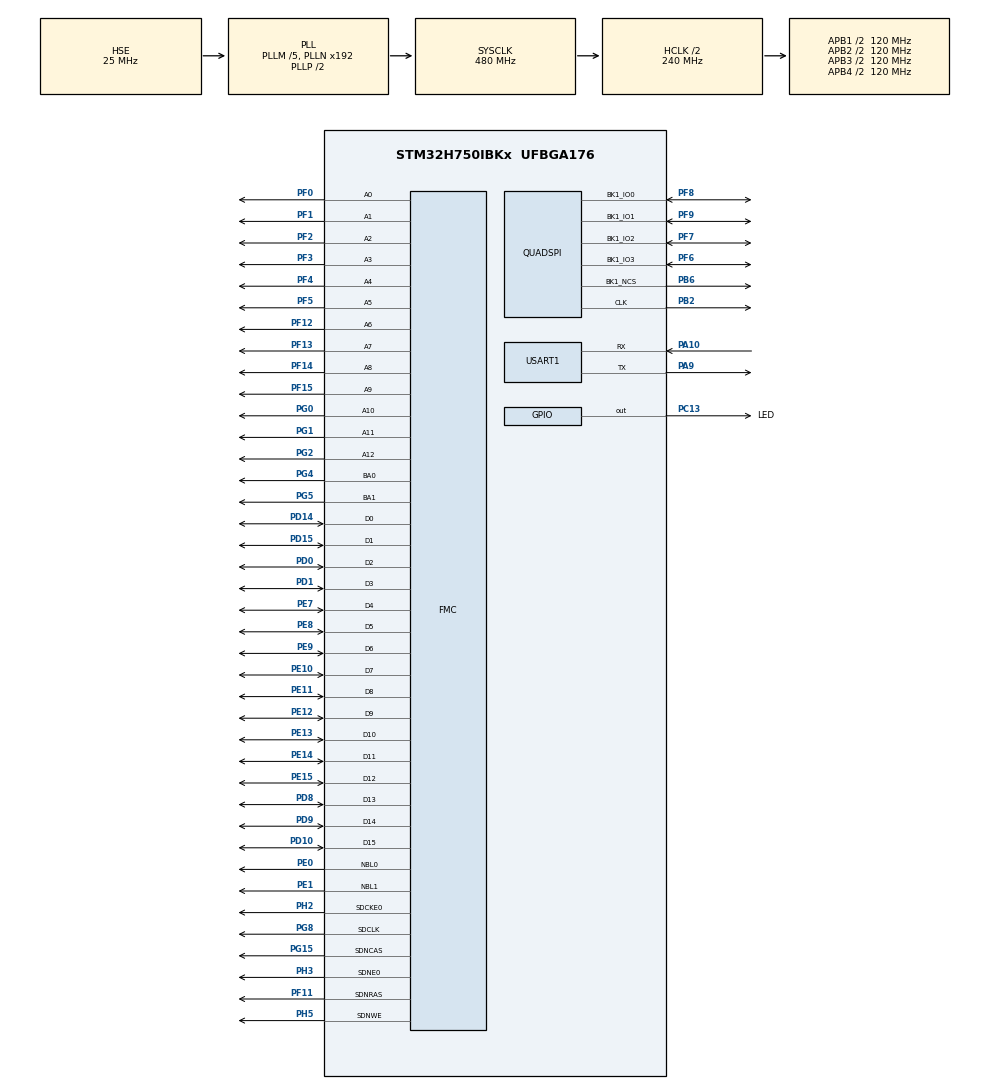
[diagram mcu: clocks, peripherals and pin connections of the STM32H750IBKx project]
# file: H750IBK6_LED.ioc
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FMC.CASLatency1=FMC_SDRAM_CAS_LATENCY_3
FMC.ColumnBitsNumber1=FMC_SDRAM_COLUMN_BITS_NUM_9
FMC.ExitSelfRefreshDelay1=7
FMC.LoadToActiveDelay1=2
FMC.RCDDelay1=2
FMC.RPDelay1=2
FMC.RPDelay2=2
FMC.ReadPipeDelay1=FMC_SDRAM_RPIPE_DELAY_1
FMC.ReadPipeDelay2=FMC_SDRAM_RPIPE_DELAY_1
FMC.RowCycleDelay1=7
FMC.RowCycleDelay2=7
FMC.SDClockPeriod1=FMC_SDRAM_CLOCK_PERIOD_2
FMC.SDClockPeriod2=FMC_SDRAM_CLOCK_PERIOD_2
FMC.SelfRefreshTime1=4
FMC.WriteRecoveryTime1=3
Mcu.Family=STM32H7
Mcu.Name=STM32H750IBKx
Mcu.Package=UFBGA176
NVIC.FMC_IRQn=true\:0\:0\:false\:false\:true\:true\:true\:true
NVIC.PriorityGroup=NVIC_PRIORITYGROUP_4
NVIC.QUADSPI_IRQn=true\:0\:0\:false\:false\:true\:true\:true\:true
PA10.Mode=Asynchronous
PA10.Signal=USART1_RX
PA9.Mode=Asynchronous
PA9.Signal=USART1_TX
PB2.Mode=Single Bank 1
PB2.Signal=QUADSPI_CLK
PB6.Mode=Single Bank 1
PB6.Signal=QUADSPI_BK1_NCS
PC13.GPIO_Label=LED
PC13.Signal=GPIO_Output
PC14-OSC32_IN\ (OSC32_IN).Mode=LSE-External-Oscillator
PC14-OSC32_IN\ (OSC32_IN).Signal=RCC_OSC32_IN
PC15-OSC32_OUT\ (OSC32_OUT).Mode=LSE-External-Oscillator
PC15-OSC32_OUT\ (OSC32_OUT).Signal=RCC_OSC32_OUT
PD0.Signal=FMC_D2_DA2
PD1.Signal=FMC_D3_DA3
PD10.Signal=FMC_D15_DA15
PD14.Signal=FMC_D0_DA0
PD15.Signal=FMC_D1_DA1
PD8.Signal=FMC_D13_DA13
PD9.Signal=FMC_D14_DA14
PE0.Signal=FMC_NBL0
PE1.Signal=FMC_NBL1
PE10.Signal=FMC_D7_DA7
PE11.Signal=FMC_D8_DA8
PE12.Signal=FMC_D9_DA9
PE13.Signal=FMC_D10_DA10
PE14.Signal=FMC_D11_DA11
PE15.Signal=FMC_D12_DA12
PE7.Signal=FMC_D4_DA4
PE8.Signal=FMC_D5_DA5
PE9.Signal=FMC_D6_DA6
PF0.Signal=FMC_A0
PF1.Signal=FMC_A1
PF11.Signal=FMC_SDNRAS
PF12.Signal=FMC_A6
PF13.Signal=FMC_A7
PF14.Signal=FMC_A8
PF15.Signal=FMC_A9
PF2.Signal=FMC_A2
PF3.Signal=FMC_A3
PF4.Signal=FMC_A4
PF5.Signal=FMC_A5
PF6.Mode=Single Bank 1
PF6.Signal=QUADSPI_BK1_IO3
PF7.Mode=Single Bank 1
PF7.Signal=QUADSPI_BK1_IO2
PF8.Mode=Single Bank 1
PF8.Signal=QUADSPI_BK1_IO0
PF9.Mode=Single Bank 1
PF9.Signal=QUADSPI_BK1_IO1
PG0.Signal=FMC_A10
PG1.Signal=FMC_A11
PG15.Signal=FMC_SDNCAS
PG2.Signal=FMC_A12
PG4.Signal=FMC_A14_BA0
PG5.Signal=FMC_A15_BA1
PG8.Signal=FMC_SDCLK
PH0-OSC_IN\ (PH0).Mode=HSE-External-Oscillator
PH0-OSC_IN\ (PH0).Signal=RCC_OSC_IN
PH1-OSC_OUT\ (PH1).Mode=HSE-External-Oscillator
PH1-OSC_OUT\ (PH1).Signal=RCC_OSC_OUT
PH2.Mode=SdramChipSelect1_1
PH2.Signal=FMC_SDCKE0
PH3.Mode=SdramChipSelect1_1
PH3.Signal=FMC_SDNE0
PH5.Signal=FMC_SDNWE
ProjectManager.HeapSize=0x200
ProjectManager.StackSize=0x400
ProjectManager.TargetToolchain=MDK-ARM V5.32
QUADSPI.ChipSelectHighTime=QSPI_CS_HIGH_TIME_4_CYCLE
QUADSPI.ClockPrescaler=1
QUADSPI.FifoThreshold=32
QUADSPI.FlashSize=24
QUADSPI.SampleShifting=QSPI_SAMPLE_SHIFTING_HALFCYCLE
RCC.ADCFreq_Value=50390625
RCC.APB1Freq_Value=120000000
RCC.APB2Freq_Value=120000000
RCC.APB3Freq_Value=120000000
RCC.APB4Freq_Value=120000000
RCC.CortexFreq_Value=480000000
RCC.D1PPRE=RCC_APB3_DIV2
RCC.D2PPRE1=RCC_APB1_DIV2
RCC.D2PPRE2=RCC_APB2_DIV2
RCC.D3PPRE=RCC_APB4_DIV2
RCC.DIVM1=5
RCC.DIVM3=1
RCC.DIVN1=192
RCC.DIVN3=6
RCC.DIVQ1=80
RCC.HCLKFreq_Value=240000000
RCC.HPRE=RCC_HCLK_DIV2
RCC.PLLSourceVirtual=RCC_PLLSOURCE_HSE
RCC.ProductRev=revV
RCC.SYSCLKFreq_VALUE=480000000
RCC.SYSCLKSource=RCC_SYSCLKSOURCE_PLLCLK
RCC.SupplySource=PWR_LDO_SUPPLY
RCC.USBFreq_Value=12000000
SH.FMC_A0.0=FMC_A0,13b-sda1
SH.FMC_A1.0=FMC_A1,13b-sda1
SH.FMC_A10.0=FMC_A10,13b-sda1
SH.FMC_A11.0=FMC_A11,13b-sda1
SH.FMC_A12.0=FMC_A12,13b-sda1
SH.FMC_A14_BA0.0=FMC_BA0,FourSdramBanks1
SH.FMC_A15_BA1.0=FMC_BA1,FourSdramBanks1
SH.FMC_A2.0=FMC_A2,13b-sda1
SH.FMC_A3.0=FMC_A3,13b-sda1
SH.FMC_A4.0=FMC_A4,13b-sda1
SH.FMC_A5.0=FMC_A5,13b-sda1
SH.FMC_A6.0=FMC_A6,13b-sda1
SH.FMC_A7.0=FMC_A7,13b-sda1
SH.FMC_A8.0=FMC_A8,13b-sda1
SH.FMC_A9.0=FMC_A9,13b-sda1
SH.FMC_D0_DA0.0=FMC_D0,sd-16b-d1
SH.FMC_D10_DA10.0=FMC_D10,sd-16b-d1
SH.FMC_D11_DA11.0=FMC_D11,sd-16b-d1
SH.FMC_D12_DA12.0=FMC_D12,sd-16b-d1
SH.FMC_D13_DA13.0=FMC_D13,sd-16b-d1
SH.FMC_D14_DA14.0=FMC_D14,sd-16b-d1
SH.FMC_D15_DA15.0=FMC_D15,sd-16b-d1
SH.FMC_D1_DA1.0=FMC_D1,sd-16b-d1
SH.FMC_D2_DA2.0=FMC_D2,sd-16b-d1
SH.FMC_D3_DA3.0=FMC_D3,sd-16b-d1
SH.FMC_D4_DA4.0=FMC_D4,sd-16b-d1
SH.FMC_D5_DA5.0=FMC_D5,sd-16b-d1
SH.FMC_D6_DA6.0=FMC_D6,sd-16b-d1
SH.FMC_D7_DA7.0=FMC_D7,sd-16b-d1
SH.FMC_D8_DA8.0=FMC_D8,sd-16b-d1
SH.FMC_D9_DA9.0=FMC_D9,sd-16b-d1
SH.FMC_NBL0.0=FMC_NBL0,Sd2ByteEnable1
SH.FMC_NBL1.0=FMC_NBL1,Sd2ByteEnable1
SH.FMC_SDCLK.0=FMC_SDCLK,13b-sda1
SH.FMC_SDNCAS.0=FMC_SDNCAS,13b-sda1
SH.FMC_SDNRAS.0=FMC_SDNRAS,13b-sda1
SH.FMC_SDNWE.0=FMC_SDNWE,13b-sda1
USART1.VirtualMode-Asynchronous=VM_ASYNC
board=custom

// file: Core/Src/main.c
/* USER CODE BEGIN Header */
/**
  ******************************************************************************
  * @file           : main.c
  * @brief          : Main program body
  ******************************************************************************
  * @attention
  *
  * Copyright (c) 2023 STMicroelectronics.
  * All rights reserved.
  *
  * This software is licensed under terms that can be found in the LICENSE file
  * in the root directory of this software component.
  * If no LICENSE file comes with this software, it is provided AS-IS.
  *
  ******************************************************************************
  */
/* USER CODE END Header */
#include "main.h"
#include "usart.h"
#include "gpio.h"
#include "fmc.h"

/* USER CODE BEGIN Includes */
#include "bsp_sdram.h"
/* USER CODE END Includes */

void SystemClock_Config(void);

/* USER CODE BEGIN 0 */
#ifdef __GNUC__
#define PUTCHAR_PROTOTYPE int __io_putchar(int ch)
#else
#define PUTCHAR_PROTOTYPE int fputc(int ch, FILE *f)
#endif
PUTCHAR_PROTOTYPE
{
    HAL_UART_Transmit(&huart1 , (uint8_t *)&ch, 1, 0xFFFF);
    return ch;
}

#define sdram_addr 0xc0000000
/* USER CODE END 0 */

int main(void)
{

  /* MCU Configuration--------------------------------------------------------*/

  /* Reset of all peripherals, Initializes the Flash interface and the Systick. */
  HAL_Init();

  /* Configure the system clock */
  SystemClock_Config();

  /* Initialize all configured peripherals */
  MX_GPIO_Init();
  MX_FMC_Init();
  MX_USART1_UART_Init();
  /* USER CODE BEGIN 2 */
	SDRAM_InitSequence();
//write sdram
	for(int i=0;i<1000;i++)
	{
		*(uint8_t *)(sdram_addr+i)=i;
	}
//read sdram
	for(int i=0;i<1000;i++)
	{
		printf("%d\t",*(uint8_t *)(sdram_addr+i));
		if(i%20==0)
			printf("%\r\n");
	}
  /* USER CODE END 2 */

  /* Infinite loop */
  /* USER CODE BEGIN WHILE */
  while (1)
  {
		HAL_Delay(500);
		HAL_GPIO_TogglePin(LED_GPIO_Port,LED_Pin);
    /* USER CODE END WHILE */

  }
}

void SystemClock_Config(void)
{
  RCC_OscInitTypeDef RCC_OscInitStruct = {0};
  RCC_ClkInitTypeDef RCC_ClkInitStruct = {0};

  /** Supply configuration update enable
  */
  HAL_PWREx_ConfigSupply(PWR_LDO_SUPPLY);

  /** Configure the main internal regulator output voltage
  */
  __HAL_PWR_VOLTAGESCALING_CONFIG(PWR_REGULATOR_VOLTAGE_SCALE1);

  while(!__HAL_PWR_GET_FLAG(PWR_FLAG_VOSRDY)) {}

  __HAL_RCC_SYSCFG_CLK_ENABLE();
  __HAL_PWR_VOLTAGESCALING_CONFIG(PWR_REGULATOR_VOLTAGE_SCALE0);

  while(!__HAL_PWR_GET_FLAG(PWR_FLAG_VOSRDY)) {}

  /** Initializes the RCC Oscillators according to the specified parameters
  * in the RCC_OscInitTypeDef structure.
  */
  RCC_OscInitStruct.OscillatorType = RCC_OSCILLATORTYPE_HSE;
  RCC_OscInitStruct.HSEState = RCC_HSE_ON;
  RCC_OscInitStruct.PLL.PLLState = RCC_PLL_ON;
  RCC_OscInitStruct.PLL.PLLSource = RCC_PLLSOURCE_HSE;
  RCC_OscInitStruct.PLL.PLLM = 5;
  RCC_OscInitStruct.PLL.PLLN = 192;
  RCC_OscInitStruct.PLL.PLLP = 2;
  RCC_OscInitStruct.PLL.PLLQ = 80;
  RCC_OscInitStruct.PLL.PLLR = 2;
  RCC_OscInitStruct.PLL.PLLRGE = RCC_PLL1VCIRANGE_2;
  RCC_OscInitStruct.PLL.PLLVCOSEL = RCC_PLL1VCOWIDE;
  RCC_OscInitStruct.PLL.PLLFRACN = 0;
  if (HAL_RCC_OscConfig(&RCC_OscInitStruct) != HAL_OK)
  {
    Error_Handler();
  }

  /** Initializes the CPU, AHB and APB buses clocks
  */
  RCC_ClkInitStruct.ClockType = RCC_CLOCKTYPE_HCLK|RCC_CLOCKTYPE_SYSCLK
                              |RCC_CLOCKTYPE_PCLK1|RCC_CLOCKTYPE_PCLK2
                              |RCC_CLOCKTYPE_D3PCLK1|RCC_CLOCKTYPE_D1PCLK1;
  RCC_ClkInitStruct.SYSCLKSource = RCC_SYSCLKSOURCE_PLLCLK;
  RCC_ClkInitStruct.SYSCLKDivider = RCC_SYSCLK_DIV1;
  RCC_ClkInitStruct.AHBCLKDivider = RCC_HCLK_DIV2;
  RCC_ClkInitStruct.APB3CLKDivider = RCC_APB3_DIV2;
  RCC_ClkInitStruct.APB1CLKDivider = RCC_APB1_DIV2;
  RCC_ClkInitStruct.APB2CLKDivider = RCC_APB2_DIV2;
  RCC_ClkInitStruct.APB4CLKDivider = RCC_APB4_DIV2;

  if (HAL_RCC_ClockConfig(&RCC_ClkInitStruct, FLASH_LATENCY_4) != HAL_OK)
  {
    Error_Handler();
  }
}

void Error_Handler(void)
{
  __disable_irq();
  while (1)
  {
  }
}
